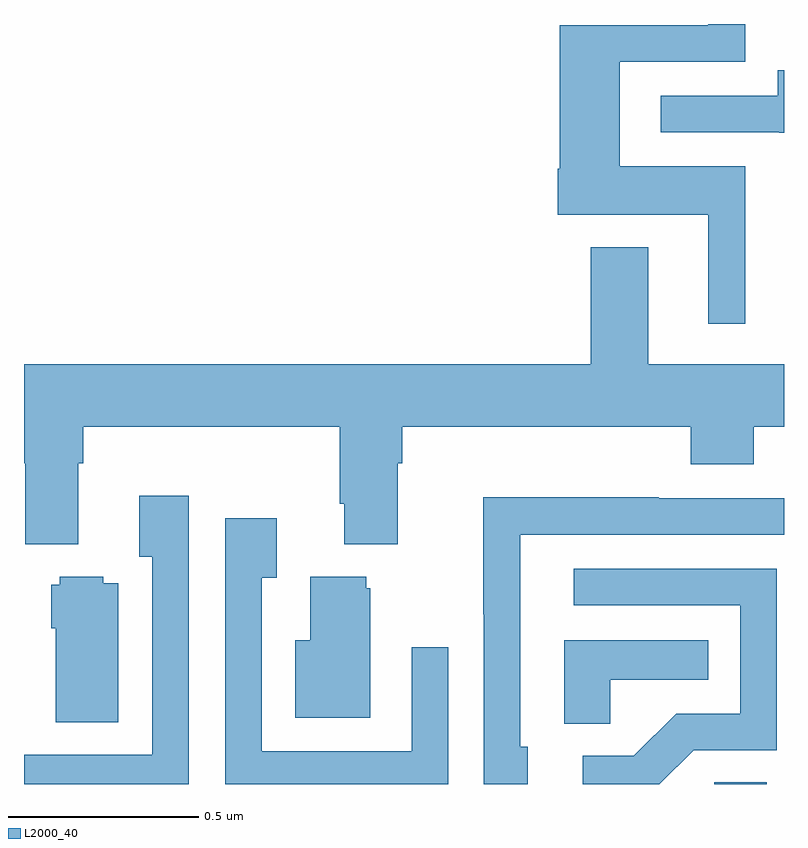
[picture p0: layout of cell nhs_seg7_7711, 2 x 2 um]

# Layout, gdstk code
import gdstk
lib = gdstk.Library(unit=1e-6, precision=1e-09)
def R(c, l, rs):  # rectangles x0, y0, x1, y1
    for r in rs: c.add(gdstk.rectangle(r[:2], r[2:], *l))
def P(c, l, *ps):  # polygons
    for p in ps: c.add(gdstk.Polygon(p, *l))
L2000_40 = (2000, 40)

nhs_seg7_7711 = lib.new_cell('nhs_seg7_7711')
R(nhs_seg7_7711, L2000_40, [(216.816,1009,216.955,1009.004)])
P(nhs_seg7_7711, L2000_40, [(216.898,1010.626),(216.568,1010.626),(216.568,1010.901),(216.898,1010.901),(216.898,1011),(216.8,1011),(216.8,1010.997),(216.41,1010.997),(216.41,1010.619),(216.404,1010.619),(216.404,1010.498),(216.8,1010.498),(216.8,1010.211),(216.898,1010.211)],
  [(217,1010.878),(216.983,1010.878),(216.983,1010.811),(216.675,1010.811),(216.675,1010.715),(216.987,1010.715),(216.987,1010.714),(217,1010.714)],
  [(215.143,1009.844),(215.156,1009.844),(215.156,1009.94),(215.831,1009.94),(215.831,1009.738),(215.843,1009.738),(215.843,1009.631),(215.983,1009.631),(215.983,1009.844),(215.996,1009.844),(215.996,1009.94),(216.755,1009.94),(216.755,1009.841),(216.92,1009.841),(216.92,1009.94),(217,1009.94),(217,1010.104),(216.643,1010.104),(216.643,1010.413),(216.491,1010.413),(216.491,1010.104),(215,1010.104),(215,1009.844),(215.003,1009.844),(215.003,1009.631),(215.143,1009.631)],
  [(215.433,1009.759),(215.303,1009.759),(215.303,1009.598),(215.337,1009.598),(215.337,1009.077),(215,1009.077),(215,1009),(215.433,1009)],
  [(216.325,1009.098),(216.306,1009.098),(216.306,1009.656),(217,1009.656),(217,1009.752),(216.671,1009.752),(216.671,1009.754),(216.208,1009.754),(216.208,1009.447),(216.21,1009.447),(216.21,1009),(216.325,1009)],
  [(216.117,1009.36),(216.021,1009.36),(216.021,1009.086),(215.625,1009.086),(215.625,1009.543),(215.665,1009.543),(215.665,1009.699),(215.529,1009.699),(215.529,1009),(216.117,1009)],
  [(216.762,1009.089),(216.981,1009.089),(216.981,1009.566),(216.447,1009.566),(216.447,1009.47),(216.885,1009.47),(216.885,1009.185),(216.716,1009.185),(216.605,1009.074),(216.471,1009.074),(216.471,1009),(216.672,1009)],
  [(215.911,1009.515),(215.9,1009.515),(215.9,1009.546),(215.753,1009.546),(215.753,1009.378),(215.714,1009.378),(215.714,1009.175),(215.911,1009.175)],
  [(215.248,1009.528),(215.208,1009.528),(215.208,1009.546),(215.094,1009.546),(215.094,1009.524),(215.072,1009.524),(215.072,1009.41),(215.084,1009.41),(215.084,1009.162),(215.248,1009.162)],
  [(216.543,1009.274),(216.8,1009.274),(216.8,1009.378),(216.422,1009.378),(216.422,1009.159),(216.543,1009.159)])

lib.write_gds('nhs_seg7_7711.gds')
